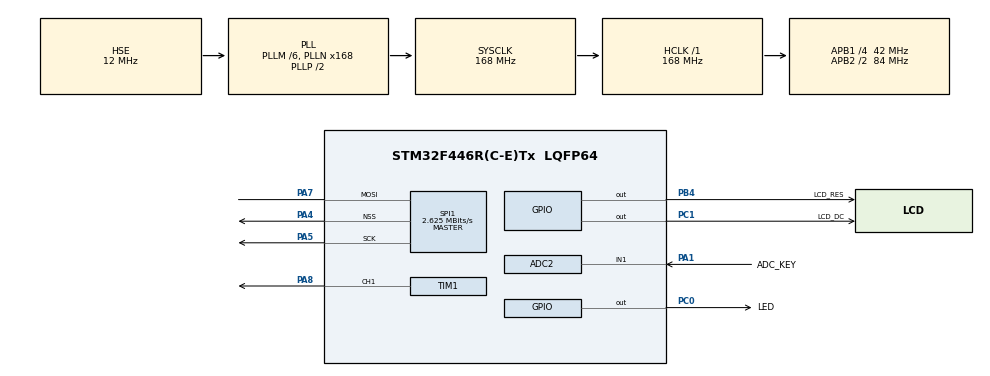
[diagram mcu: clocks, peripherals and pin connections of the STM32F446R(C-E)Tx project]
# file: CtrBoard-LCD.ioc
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ADC2.Channel-0\#ChannelRegularConversion=ADC_CHANNEL_1
ADC2.NbrOfConversionFlag=1
ADC2.Rank-0\#ChannelRegularConversion=1
ADC2.SamplingTime-0\#ChannelRegularConversion=ADC_SAMPLETIME_3CYCLES
Mcu.Family=STM32F4
Mcu.Name=STM32F446R(C-E)Tx
Mcu.Package=LQFP64
NVIC.PriorityGroup=NVIC_PRIORITYGROUP_4
PA1.GPIO_Label=ADC_KEY
PA1.Signal=ADCx_IN1
PA13.Mode=Serial_Wire
PA13.Signal=SYS_JTMS-SWDIO
PA14.Mode=Serial_Wire
PA14.Signal=SYS_JTCK-SWCLK
PA4.Mode=NSS_Signal_Hard_Output
PA4.Signal=SPI1_NSS
PA5.Mode=Simplex_Bidirectional_Master
PA5.Signal=SPI1_SCK
PA7.Mode=Simplex_Bidirectional_Master
PA7.Signal=SPI1_MOSI
PA8.Signal=S_TIM1_CH1
PB4.GPIO_Label=LCD_RES
PB4.GPIO_PuPd=GPIO_PULLDOWN
PB4.GPIO_Speed=GPIO_SPEED_FREQ_HIGH
PB4.Signal=GPIO_Output
PC0.GPIO_Label=LED
PC0.GPIO_ModeDefaultOutputPP=GPIO_MODE_OUTPUT_PP
PC0.GPIO_PuPd=GPIO_NOPULL
PC0.GPIO_Speed=GPIO_SPEED_FREQ_LOW
PC0.PinState=GPIO_PIN_RESET
PC0.Signal=GPIO_Output
PC1.GPIO_Label=LCD_DC
PC1.GPIO_PuPd=GPIO_PULLUP
PC1.GPIO_Speed=GPIO_SPEED_FREQ_HIGH
PC1.Signal=GPIO_Output
PH0-OSC_IN.Mode=HSE-External-Oscillator
PH0-OSC_IN.Signal=RCC_OSC_IN
PH1-OSC_OUT.Mode=HSE-External-Oscillator
PH1-OSC_OUT.Signal=RCC_OSC_OUT
ProjectManager.HeapSize=0x400
ProjectManager.StackSize=0x800
ProjectManager.TargetToolchain=MDK-ARM V5.27
RCC.AHBFreq_Value=168000000
RCC.APB1CLKDivider=RCC_HCLK_DIV4
RCC.APB1Freq_Value=42000000
RCC.APB1TimFreq_Value=84000000
RCC.APB2CLKDivider=RCC_HCLK_DIV2
RCC.APB2Freq_Value=84000000
RCC.APB2TimFreq_Value=168000000
RCC.CortexFreq_Value=168000000
RCC.HCLKFreq_Value=168000000
RCC.HSE_VALUE=12000000
RCC.PLLM=6
RCC.PLLN=168
RCC.PLLQ=7
RCC.PLLSAIM=6
RCC.PLLSAIN=96
RCC.PLLSAIP=RCC_PLLSAIP_DIV4
RCC.PLLSourceVirtual=RCC_PLLSOURCE_HSE
RCC.SYSCLKFreq_VALUE=168000000
RCC.SYSCLKSource=RCC_SYSCLKSOURCE_PLLCLK
RCC.USBFreq_Value=48000000
RCC.VCOOutputFreq_Value=336000000
SH.ADCx_IN1.0=ADC2_IN1,IN1
SH.S_TIM1_CH1.0=TIM1_CH1,PWM Generation1 CH1
SPI1.BaudRatePrescaler=SPI_BAUDRATEPRESCALER_32
SPI1.CalculateBaudRate=2.625 MBits/s
SPI1.Direction=SPI_DIRECTION_1LINE
SPI1.Mode=SPI_MODE_MASTER
SPI1.VirtualNSS=VM_NSSHARD
SPI1.VirtualType=VM_MASTER
TIM1.Channel-PWM\ Generation1\ CH1=TIM_CHANNEL_1
board=custom

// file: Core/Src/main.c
/* USER CODE BEGIN Header */
/**
  ******************************************************************************
  * @file           : main.c
  * @brief          : Main program body
  ******************************************************************************
  * @attention
  *
  * <h2><center>&copy; Copyright (c) 2023 STMicroelectronics.
  * All rights reserved.</center></h2>
  *
  * This software component is licensed by ST under BSD 3-Clause license,
  * the "License"; You may not use this file except in compliance with the
  * License. You may obtain a copy of the License at:
  *                        opensource.org/licenses/BSD-3-Clause
  *
  ******************************************************************************
  */
/* USER CODE END Header */
#include "main.h"
#include "adc.h"
#include "spi.h"
#include "tim.h"
#include "gpio.h"

/* USER CODE BEGIN Includes */

#include "image.h"
#include "LCD_Test.h"
static uint16_t adcx = 0, adcx_old = 0;
extern TIM_HandleTypeDef htim1;
float get_key_voltage(void);

volatile float voltage_vrefint_proportion = 8.0586080586080586080586080586081e-4f;// 3.3/4096
/* USER CODE END Includes */

void SystemClock_Config(void);

int main(void)
{

  /* MCU Configuration--------------------------------------------------------*/

  /* Reset of all peripherals, Initializes the Flash interface and the Systick. */
  HAL_Init();

  /* Configure the system clock */
  SystemClock_Config();

  /* Initialize all configured peripherals */
  MX_GPIO_Init();
  MX_ADC2_Init();
  MX_TIM1_Init();
  MX_SPI1_Init();
  /* USER CODE BEGIN 2 */
    LCD_1in69_test();

  /* USER CODE END 2 */

  /* Infinite loop */
  while (1)
  {

    /* USER CODE BEGIN 3 */
    get_key_voltage();
    HAL_Delay(100);
    if(adcx_old != adcx)
    {
        adcx_old = adcx;
        Paint_DrawRectangle(30, 88, 30+28, 88+12, WHITE,1,1);
        Paint_DrawNum(30, 88,adcx,&Font12, WHITE, BLACK); //��ӡADC��ֵ
    }

  }
  /* USER CODE END 3 */
}

void SystemClock_Config(void)
{
  RCC_OscInitTypeDef RCC_OscInitStruct = {0};
  RCC_ClkInitTypeDef RCC_ClkInitStruct = {0};

  /** Configure the main internal regulator output voltage
  */
  __HAL_RCC_PWR_CLK_ENABLE();
  __HAL_PWR_VOLTAGESCALING_CONFIG(PWR_REGULATOR_VOLTAGE_SCALE1);
  /** Initializes the RCC Oscillators according to the specified parameters
  * in the RCC_OscInitTypeDef structure.
  */
  RCC_OscInitStruct.OscillatorType = RCC_OSCILLATORTYPE_HSE;
  RCC_OscInitStruct.HSEState = RCC_HSE_ON;
  RCC_OscInitStruct.PLL.PLLState = RCC_PLL_ON;
  RCC_OscInitStruct.PLL.PLLSource = RCC_PLLSOURCE_HSE;
  RCC_OscInitStruct.PLL.PLLM = 6;
  RCC_OscInitStruct.PLL.PLLN = 168;
  RCC_OscInitStruct.PLL.PLLP = RCC_PLLP_DIV2;
  RCC_OscInitStruct.PLL.PLLQ = 7;
  RCC_OscInitStruct.PLL.PLLR = 2;
  if (HAL_RCC_OscConfig(&RCC_OscInitStruct) != HAL_OK)
  {
    Error_Handler();
  }
  /** Initializes the CPU, AHB and APB buses clocks
  */
  RCC_ClkInitStruct.ClockType = RCC_CLOCKTYPE_HCLK|RCC_CLOCKTYPE_SYSCLK
                              |RCC_CLOCKTYPE_PCLK1|RCC_CLOCKTYPE_PCLK2;
  RCC_ClkInitStruct.SYSCLKSource = RCC_SYSCLKSOURCE_PLLCLK;
  RCC_ClkInitStruct.AHBCLKDivider = RCC_SYSCLK_DIV1;
  RCC_ClkInitStruct.APB1CLKDivider = RCC_HCLK_DIV4;
  RCC_ClkInitStruct.APB2CLKDivider = RCC_HCLK_DIV2;

  if (HAL_RCC_ClockConfig(&RCC_ClkInitStruct, FLASH_LATENCY_5) != HAL_OK)
  {
    Error_Handler();
  }
}

/* USER CODE BEGIN 4 */
static uint16_t adcx_get_chx_value(ADC_HandleTypeDef *ADCx, uint32_t ch)
{
    static ADC_ChannelConfTypeDef sConfig = {0};
    sConfig.Channel = ch;
    sConfig.Rank = 1;
    sConfig.SamplingTime = ADC_SAMPLETIME_84CYCLES;//ADC_SAMPLETIME_3CYCLES;

    if (HAL_ADC_ConfigChannel(ADCx, &sConfig) != HAL_OK)
    {
        Error_Handler();
    }

    HAL_ADC_Start(ADCx);

    HAL_ADC_PollForConversion(ADCx, 10);
    return (uint16_t)HAL_ADC_GetValue(ADCx);

}

float get_key_voltage(void)
{
    float voltage;

    adcx = adcx_get_chx_value(&hadc2, ADC_CHANNEL_1);
    //(10K �� + 100K ��)  / 10K �� = 11
    voltage =  (float)adcx * voltage_vrefint_proportion * 11.0f;

    return voltage;
}

/* USER CODE END 4 */

void Error_Handler(void)
{
}

/************************ (C) COPYRIGHT STMicroelectronics *****END OF FILE****/
